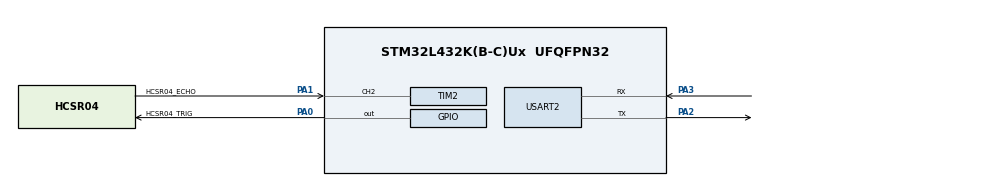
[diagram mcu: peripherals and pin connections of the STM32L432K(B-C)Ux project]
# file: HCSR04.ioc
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Mcu.Family=STM32L4
Mcu.Name=STM32L432K(B-C)Ux
Mcu.Package=UFQFPN32
NVIC.PriorityGroup=NVIC_PRIORITYGROUP_4
NVIC.TIM2_IRQn=true\:0\:0\:false\:false\:true\:true\:true
NVIC.USART2_IRQn=true\:0\:0\:false\:false\:true\:true\:true
PA0.GPIO_Label=HCSR04_TRIG
PA0.GPIO_PuPd=GPIO_PULLDOWN
PA0.Signal=GPIO_Output
PA1.GPIO_Label=HCSR04_ECHO
PA1.Signal=S_TIM2_CH2
PA2.Mode=Asynchronous
PA2.Signal=USART2_TX
PA3.Mode=Asynchronous
PA3.Signal=USART2_RX
ProjectManager.HeapSize=0x200
ProjectManager.StackSize=0x400
ProjectManager.TargetToolchain=STM32CubeIDE
RCC.ADCFreq_Value=64000000
RCC.AHBFreq_Value=16000000
RCC.APB1Freq_Value=16000000
RCC.APB1TimFreq_Value=16000000
RCC.APB2Freq_Value=16000000
RCC.APB2TimFreq_Value=16000000
RCC.CortexFreq_Value=16000000
RCC.HCLKFreq_Value=16000000
RCC.HSE_VALUE=8000000
RCC.HSI48_VALUE=48000000
RCC.HSI_VALUE=16000000
RCC.LSE_VALUE=32768
RCC.MSIClockRange=RCC_MSIRANGE_8
RCC.MSI_VALUE=16000000
RCC.SYSCLKFreq_VALUE=16000000
RCC.USBFreq_Value=64000000
RCC.VCOOutputFreq_Value=128000000
SH.S_TIM2_CH2.0=TIM2_CH2,Input_Capture2_from_TI2
TIM2.Channel-Input_Capture2_from_TI2=TIM_CHANNEL_2
TIM2.Channel-Output\ Compare1\ No\ Output=TIM_CHANNEL_1
TIM2.Period=60999
TIM2.Prescaler=15
TIM2.Pulse-Output\ Compare1\ No\ Output=12
USART2.VirtualMode-Asynchronous=VM_ASYNC
VP_TIM2_VS_ClockSourceINT.Mode=Internal
VP_TIM2_VS_no_output1.Mode=Output Compare1 No Output
board=custom

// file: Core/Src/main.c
/* USER CODE BEGIN Header */
/**
  ******************************************************************************
  * @file           : main.c
  * @brief          : Main program body
  ******************************************************************************
  * @attention
  *
  * <h2><center>&copy; Copyright (c) 2020 STMicroelectronics.
  * All rights reserved.</center></h2>
  *
  * This software component is licensed by ST under BSD 3-Clause license,
  * the "License"; You may not use this file except in compliance with the
  * License. You may obtain a copy of the License at:
  *                        opensource.org/licenses/BSD-3-Clause
  *
  ******************************************************************************
  */
/* USER CODE END Header */
#include "main.h"

/* USER CODE BEGIN Includes */
#include "application.h"
/* USER CODE END Includes */

void SystemClock_Config(void);
static void MX_GPIO_Init(void);
static void MX_TIM2_Init(void);
static void MX_USART2_UART_Init(void);

int main(void)
{

  /* MCU Configuration--------------------------------------------------------*/

  /* Reset of all peripherals, Initializes the Flash interface and the Systick. */

  LL_APB2_GRP1_EnableClock(LL_APB2_GRP1_PERIPH_SYSCFG);
  LL_APB1_GRP1_EnableClock(LL_APB1_GRP1_PERIPH_PWR);

  NVIC_SetPriorityGrouping(NVIC_PRIORITYGROUP_4);

  /* System interrupt init*/

  /* Configure the system clock */
  SystemClock_Config();

  /* Initialize all configured peripherals */
  MX_GPIO_Init();
  MX_TIM2_Init();
  MX_USART2_UART_Init();
  /* USER CODE BEGIN 2 */

  ring_buffer_init(&usart_tx_buf);
  state = SAMPLE_COMPLETE; // Starting state - Wait for first timer overflow interrupt
  start_timer2();

  char str_buf[40];
  uint16_t time_us;
  /* USER CODE END 2 */

  /* Infinite loop */
  /* USER CODE BEGIN WHILE */
  while (1) {
	  switch (state) {
      	  case TRIG_BEGIN:
      		  GPIOA->BSRR = HCSR04_TRIG_Pin;
      		  while (state != TRIG_END); // only ~10us, might as well busy wait
      		  break;
      	  case TRIG_END:
      		  GPIOA->BRR = HCSR04_TRIG_Pin;
      		  SLEEP_MODE();
      		  break;
      	  case SAMPLE_BEGIN:
      		  SLEEP_MODE();
      		  break;
      	  case SAMPLE_END:
      		  time_us = timer2_ic_falling_cnt - timer2_ic_rising_cnt;
      		  output_reading(str_buf, time_us);
      		  state = SAMPLE_COMPLETE; // Go back to sleep while waiting for next overflow
      		  break;
      	  case SAMPLE_COMPLETE:
      		  SLEEP_MODE();
      		  break;
      	  default:
      		  break;
    }
    /* USER CODE END WHILE */

  }
}

void SystemClock_Config(void)
{
  LL_FLASH_SetLatency(LL_FLASH_LATENCY_0);
  while(LL_FLASH_GetLatency()!= LL_FLASH_LATENCY_0)
  {
  }
  LL_PWR_SetRegulVoltageScaling(LL_PWR_REGU_VOLTAGE_SCALE1);
  LL_RCC_MSI_Enable();

   /* Wait till MSI is ready */
  while(LL_RCC_MSI_IsReady() != 1)
  {

  }
  LL_RCC_MSI_EnableRangeSelection();
  LL_RCC_MSI_SetRange(LL_RCC_MSIRANGE_8);
  LL_RCC_MSI_SetCalibTrimming(0);
  LL_RCC_SetSysClkSource(LL_RCC_SYS_CLKSOURCE_MSI);

   /* Wait till System clock is ready */
  while(LL_RCC_GetSysClkSource() != LL_RCC_SYS_CLKSOURCE_STATUS_MSI)
  {

  }
  LL_RCC_SetAHBPrescaler(LL_RCC_SYSCLK_DIV_1);
  LL_RCC_SetAPB1Prescaler(LL_RCC_APB1_DIV_1);
  LL_RCC_SetAPB2Prescaler(LL_RCC_APB2_DIV_1);

  LL_Init1msTick(16000000);

  LL_SetSystemCoreClock(16000000);
  LL_RCC_SetUSARTClockSource(LL_RCC_USART2_CLKSOURCE_PCLK1);
}

static void MX_TIM2_Init(void)
{

  LL_TIM_InitTypeDef TIM_InitStruct = {0};
  LL_TIM_OC_InitTypeDef TIM_OC_InitStruct = {0};

  LL_GPIO_InitTypeDef GPIO_InitStruct = {0};

  /* Peripheral clock enable */
  LL_APB1_GRP1_EnableClock(LL_APB1_GRP1_PERIPH_TIM2);

  LL_AHB2_GRP1_EnableClock(LL_AHB2_GRP1_PERIPH_GPIOA);
  /**TIM2 GPIO Configuration
  PA1   ------> TIM2_CH2
  */
  GPIO_InitStruct.Pin = HCSR04_ECHO_Pin;
  GPIO_InitStruct.Mode = LL_GPIO_MODE_ALTERNATE;
  GPIO_InitStruct.Speed = LL_GPIO_SPEED_FREQ_LOW;
  GPIO_InitStruct.OutputType = LL_GPIO_OUTPUT_PUSHPULL;
  GPIO_InitStruct.Pull = LL_GPIO_PULL_NO;
  GPIO_InitStruct.Alternate = LL_GPIO_AF_1;
  LL_GPIO_Init(HCSR04_ECHO_GPIO_Port, &GPIO_InitStruct);

  /* TIM2 interrupt Init */
  NVIC_SetPriority(TIM2_IRQn, NVIC_EncodePriority(NVIC_GetPriorityGrouping(),0, 0));
  NVIC_EnableIRQ(TIM2_IRQn);

  TIM_InitStruct.Prescaler = 15;
  TIM_InitStruct.CounterMode = LL_TIM_COUNTERMODE_UP;
  TIM_InitStruct.Autoreload = 60999;
  TIM_InitStruct.ClockDivision = LL_TIM_CLOCKDIVISION_DIV1;
  LL_TIM_Init(TIM2, &TIM_InitStruct);
  LL_TIM_DisableARRPreload(TIM2);
  LL_TIM_SetClockSource(TIM2, LL_TIM_CLOCKSOURCE_INTERNAL);
  TIM_OC_InitStruct.OCMode = LL_TIM_OCMODE_FROZEN;
  TIM_OC_InitStruct.OCState = LL_TIM_OCSTATE_DISABLE;
  TIM_OC_InitStruct.OCNState = LL_TIM_OCSTATE_DISABLE;
  TIM_OC_InitStruct.CompareValue = 12;
  TIM_OC_InitStruct.OCPolarity = LL_TIM_OCPOLARITY_HIGH;
  LL_TIM_OC_Init(TIM2, LL_TIM_CHANNEL_CH1, &TIM_OC_InitStruct);
  LL_TIM_OC_DisableFast(TIM2, LL_TIM_CHANNEL_CH1);
  LL_TIM_SetOCRefClearInputSource(TIM2, LL_TIM_OCREF_CLR_INT_NC);
  LL_TIM_DisableExternalClock(TIM2);
  LL_TIM_ConfigETR(TIM2, LL_TIM_ETR_POLARITY_NONINVERTED, LL_TIM_ETR_PRESCALER_DIV1, LL_TIM_ETR_FILTER_FDIV1);
  LL_TIM_SetTriggerOutput(TIM2, LL_TIM_TRGO_RESET);
  LL_TIM_DisableMasterSlaveMode(TIM2);
  LL_TIM_IC_SetActiveInput(TIM2, LL_TIM_CHANNEL_CH2, LL_TIM_ACTIVEINPUT_DIRECTTI);
  LL_TIM_IC_SetPrescaler(TIM2, LL_TIM_CHANNEL_CH2, LL_TIM_ICPSC_DIV1);
  LL_TIM_IC_SetFilter(TIM2, LL_TIM_CHANNEL_CH2, LL_TIM_IC_FILTER_FDIV1);
  LL_TIM_IC_SetPolarity(TIM2, LL_TIM_CHANNEL_CH2, LL_TIM_IC_POLARITY_RISING);

}

static void MX_USART2_UART_Init(void)
{

  LL_USART_InitTypeDef USART_InitStruct = {0};

  LL_GPIO_InitTypeDef GPIO_InitStruct = {0};

  /* Peripheral clock enable */
  LL_APB1_GRP1_EnableClock(LL_APB1_GRP1_PERIPH_USART2);

  LL_AHB2_GRP1_EnableClock(LL_AHB2_GRP1_PERIPH_GPIOA);
  /**USART2 GPIO Configuration
  PA2   ------> USART2_TX
  PA3   ------> USART2_RX
  */
  GPIO_InitStruct.Pin = LL_GPIO_PIN_2|LL_GPIO_PIN_3;
  GPIO_InitStruct.Mode = LL_GPIO_MODE_ALTERNATE;
  GPIO_InitStruct.Speed = LL_GPIO_SPEED_FREQ_VERY_HIGH;
  GPIO_InitStruct.OutputType = LL_GPIO_OUTPUT_PUSHPULL;
  GPIO_InitStruct.Pull = LL_GPIO_PULL_NO;
  GPIO_InitStruct.Alternate = LL_GPIO_AF_7;
  LL_GPIO_Init(GPIOA, &GPIO_InitStruct);

  /* USART2 interrupt Init */
  NVIC_SetPriority(USART2_IRQn, NVIC_EncodePriority(NVIC_GetPriorityGrouping(),0, 0));
  NVIC_EnableIRQ(USART2_IRQn);

  USART_InitStruct.BaudRate = 115200;
  USART_InitStruct.DataWidth = LL_USART_DATAWIDTH_8B;
  USART_InitStruct.StopBits = LL_USART_STOPBITS_1;
  USART_InitStruct.Parity = LL_USART_PARITY_NONE;
  USART_InitStruct.TransferDirection = LL_USART_DIRECTION_TX_RX;
  USART_InitStruct.HardwareFlowControl = LL_USART_HWCONTROL_NONE;
  USART_InitStruct.OverSampling = LL_USART_OVERSAMPLING_16;
  LL_USART_Init(USART2, &USART_InitStruct);
  LL_USART_ConfigAsyncMode(USART2);
  LL_USART_Enable(USART2);

}

static void MX_GPIO_Init(void)
{
  LL_GPIO_InitTypeDef GPIO_InitStruct = {0};

  /* GPIO Ports Clock Enable */
  LL_AHB2_GRP1_EnableClock(LL_AHB2_GRP1_PERIPH_GPIOA);

  /**/
  LL_GPIO_ResetOutputPin(HCSR04_TRIG_GPIO_Port, HCSR04_TRIG_Pin);

  /**/
  GPIO_InitStruct.Pin = HCSR04_TRIG_Pin;
  GPIO_InitStruct.Mode = LL_GPIO_MODE_OUTPUT;
  GPIO_InitStruct.Speed = LL_GPIO_SPEED_FREQ_LOW;
  GPIO_InitStruct.OutputType = LL_GPIO_OUTPUT_PUSHPULL;
  GPIO_InitStruct.Pull = LL_GPIO_PULL_DOWN;
  LL_GPIO_Init(HCSR04_TRIG_GPIO_Port, &GPIO_InitStruct);

}

void Error_Handler(void)
{
}

/************************ (C) COPYRIGHT STMicroelectronics *****END OF FILE****/
